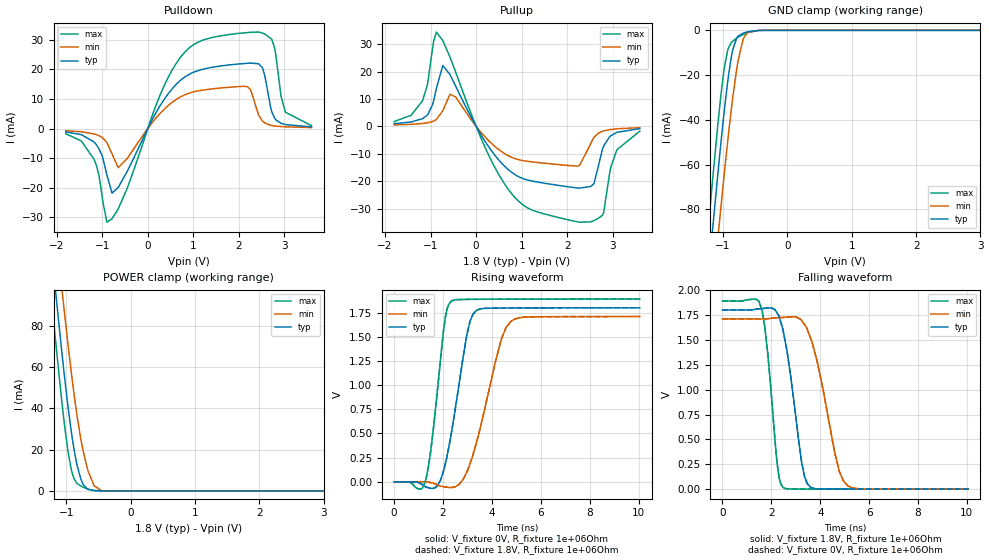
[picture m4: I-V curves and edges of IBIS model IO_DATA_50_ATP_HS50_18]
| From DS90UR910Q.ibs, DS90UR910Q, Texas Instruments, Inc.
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|   Model IO_DATA_50_ATP_HS50_18
[Model]  IO_DATA_50_ATP_HS50_18
Model_type   I/O
Polarity   Non-Inverting
Enable   Active-Low
Vinl =   0.63
Vinh =   1.17
Vmeas = 1.5000V
|   typ   min   max
|   (nom)   (fast)   (slow)
C_comp   1.107pF   1.107pF   1.107pF
[Temperature Range]   25.000   105.00   -40.000
[Voltage Range]   1.800V   1.700V   1.900V
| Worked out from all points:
|   slope of the pulldown table from 0 to 0.27 V, typ, clamps not added: 35 ohm
|   slope of the pullup table from 0 to 0.27 V, typ, clamps not added: 37 ohm
|   GND clamp passes 1 mA (typ) near -0.66 V on its own axis
|   POWER clamp passes 1 mA (typ) near -0.68 V on its own axis
|   falling waveform, V_fixture 1.8V, R_fixture 1e+06Ohm: 20-80 % time 589ps typ, 837ps min, 405ps max; typ from 1.8 V to 0 V
|   rising waveform, V_fixture 0V, R_fixture 1e+06Ohm: 20-80 % time 684ps typ, 979ps min, 474ps max; typ from 0 V to 1.8 V
|   rising waveform, V_fixture 1.8V, R_fixture 1e+06Ohm: 20-80 % time 684ps typ, 979ps min, 474ps max; typ from 0 V to 1.8 V
|   falling waveform, V_fixture 0V, R_fixture 1e+06Ohm: 20-80 % time 589ps typ, 837ps min, 405ps max; typ from 1.8 V to 0 V
[Pulldown]
|   Voltage   I(typ)   I(min)   I(max)
-1.8V     -1.155mA   -722uA     -1.746mA
-1.184V   -4.476mA   -1.794mA   -10.29mA
-898.2mV  -15.64mA   -4.698mA   -31.64mA
-784.8mV  -21.82mA   -8.552mA   -30.46mA
-649.8mV  -19.91mA   -13.23mA   -27.17mA
252mV     7.263mA    4.813mA    10.64mA
711mV     16.19mA    10.63mA    23.93mA
2.266V    22.12mA    12.72mA    32.53mA
2.52V     20.5mA     2.492mA    32.28mA
2.817V    2.865mA    818.9uA    24.22mA
3.022V    1.333mA    582uA      5.5mA
3.595V    562.9uA    334.5uA    995.1uA
[GND Clamp]
|   Voltage   I(typ)   I(min)   I(max)
-1.8V     -296.6mA   -318.2mA   -281mA
-1.228V   -109.2mA   -137.1mA   -87.53mA
-1.168V   -90.62mA   -118.9mA   -68.54mA
-1.082V   -64.33mA   -93.04mA   -42.27mA
-1.033V   -50.2mA    -78.83mA   -28.89mA
-979.2mV  -35.42mA   -63.49mA   -16.52mA
-930.6mV  -23.5mA    -50.24mA   -9.211mA
-871.2mV  -11.85mA   -35.13mA   -5.505mA
-768.6mV  -2.676mA   -13.86mA   -3.143mA
-693mV    -1.308mA   -4.468mA   -1.9mA
-450mV    -43.26uA   -33.03uA   -89.99uA
3.595V    0A         0A         0A
[Pullup]
|   Voltage   I(typ)   I(min)   I(max)
-1.8V     960.1uA    529.2uA    1.735mA
-1.179V   2.783mA    1.043mA    9.274mA
-871.2mV  13.95mA    2.526mA    34.4mA
-730.8mV  22.21mA    5.721mA    31.27mA
-450mV    14.71mA    10.77mA    19.81mA
721.8mV   -16mA      -10.84mA   -23.32mA
2.266V    -22.55mA   -14.43mA   -34.99mA
2.585V    -20.92mA   -4.098mA   -34.41mA
2.774V    -8.357mA   -1.812mA   -32.45mA
2.957V    -3.442mA   -1.136mA   -14.88mA
3.092V    -2.174mA   -887.6uA   -8.516mA
3.595V    -844.1uA   -485.2uA   -1.766mA
[POWER Clamp]
|   Voltage   I(typ)   I(min)   I(max)
-1.8V     302.3mA    326mA      285.1mA
-1.217V   111.8mA    141.9mA    88.15mA
-1.19V    103.3mA    133.7mA    79.49mA
-1.076V   68.91mA    99.85mA    44.83mA
-1.044V   59.55mA    90.46mA    35.82mA
-919.8mV  27.87mA    56.5mA     9.944mA
-844.2mV  13.97mA    38.55mA    4.002mA
-779.4mV  6.085mA    25.78mA    2.447mA
-660.6mV  732.7uA    9.487mA    827.9uA
-568.8mV  167.5uA    2.464mA    204.4uA
-450mV    13.54uA    113.5uA    13.22uA
3.595V    0A         0A         0A
[Ramp]
R_load = 1e+06
|   typ   min   max
dV/dt_r   1.07987/6.83959e-10   1.02562/9.78811e-10   1.13394/4.74165e-10
dV/dt_f   1.07988/5.89236e-10   1.02563/8.37013e-10   1.13395/4.05042e-10
[Falling Waveform]
V_fixture = 1.8V
V_fixture_min = 1.71V
V_fixture_max = 1.89V
R_fixture = 1e+06Ohm
C_fixture = 0F
|   Time   V(typ)   V(min)   V(max)
0s        1.8V       1.71V      1.89V
1.621ns   1.814V     1.709V     1.796V
1.851ns   1.819V     1.712V     1.367V
2.234ns   1.77V      1.721V     262.1mV
2.481ns   1.593V     1.725V     16.3mV
3.23ns    284mV      1.698V     1.07mV
3.596ns   20.07mV    1.521V     761.8uV
4.778ns   976.1uV    180.4mV    359.7uV
5.117ns   791.7uV    35.57mV    290.4uV
10.05ns   126.1uV    292.8uV    71.1uV
[Rising Waveform]
V_fixture = 0V
V_fixture_min = 0V
V_fixture_max = 0V
R_fixture = 1e+06Ohm
C_fixture = 0F
|   Time   V(typ)   V(min)   V(max)
0s        41.55uV    165.9uV    9.761uV
1.225ns   -43.42mV   305.9uV    -33.09mV
1.496ns   -67.21mV   -8.484mV   317.7mV
1.887ns   10.44mV    -43.24mV   1.236V
2.091ns   183.3mV    -53.81mV   1.697V
2.313ns   460.7mV    -59.57mV   1.862V
3.23ns    1.735V     282mV      1.887V
4.392ns   1.797V     1.48V      1.889V
4.778ns   1.798V     1.66V      1.889V
10.05ns   1.8V       1.71V      1.89V
[Rising Waveform]
V_fixture = 1.8V
V_fixture_min = 1.71V
V_fixture_max = 1.89V
R_fixture = 1e+06Ohm
C_fixture = 0F
|   Time   V(typ)   V(min)   V(max)
0s        128uV      297uV      70.75uV
1.225ns   -43.45mV   433uV      -32.27mV
1.496ns   -66.51mV   -8.334mV   318.8mV
1.887ns   11.62mV    -42.79mV   1.238V
2.091ns   184.6mV    -53.06mV   1.697V
2.313ns   462.2mV    -58.52mV   1.863V
3.23ns    1.735V     283.8mV    1.888V
4.392ns   1.797V     1.482V     1.889V
4.778ns   1.798V     1.66V      1.889V
10.05ns   1.8V       1.71V      1.89V
[Falling Waveform]
|Gnd
V_fixture = 0V
V_fixture_min = 0V
V_fixture_max = 0V
R_fixture = 1e+06Ohm
C_fixture = 0F
|   Time   V(typ)   V(min)   V(max)
0s        1.8V       1.71V      1.89V
1.621ns   1.814V     1.709V     1.795V
1.851ns   1.819V     1.712V     1.366V
2.234ns   1.77V      1.721V     261.5mV
2.481ns   1.592V     1.725V     16.12mV
3.23ns    283.1mV    1.697V     983.6uV
3.596ns   19.81mV    1.52V      683.4uV
4.778ns   856.7uV    179.4mV    291.9uV
5.117ns   679.6uV    35.13mV    224.4uV
10.05ns   39.67uV    161.9uV    10.1uV
